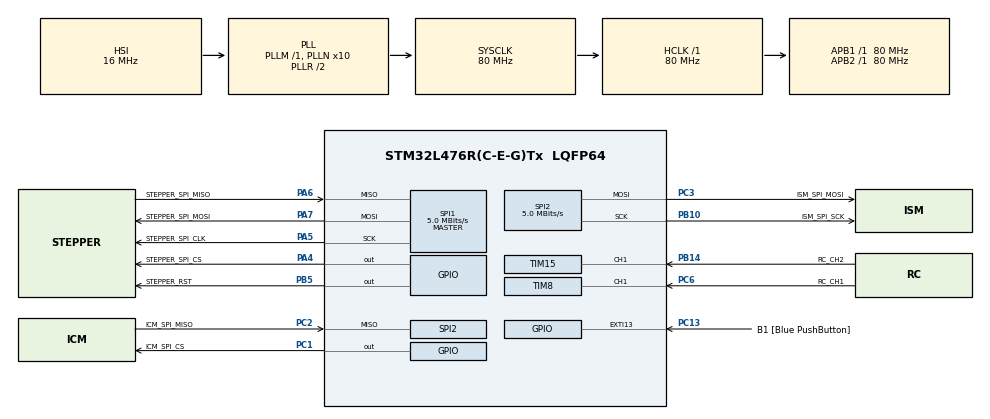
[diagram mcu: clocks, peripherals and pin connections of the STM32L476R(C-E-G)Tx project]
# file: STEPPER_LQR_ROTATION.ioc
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Dma.Request0=SPI2_RX
Dma.Request1=SPI2_TX
Dma.Request2=SPI1_RX
Dma.Request3=SPI1_TX
Dma.SPI1_RX.2.Direction=DMA_PERIPH_TO_MEMORY
Dma.SPI1_RX.2.Instance=DMA1_Channel2
Dma.SPI1_RX.2.MemDataAlignment=DMA_MDATAALIGN_BYTE
Dma.SPI1_RX.2.MemInc=DMA_MINC_ENABLE
Dma.SPI1_RX.2.Mode=DMA_NORMAL
Dma.SPI1_RX.2.PeriphDataAlignment=DMA_PDATAALIGN_BYTE
Dma.SPI1_RX.2.PeriphInc=DMA_PINC_DISABLE
Dma.SPI1_RX.2.Priority=DMA_PRIORITY_LOW
Dma.SPI1_TX.3.Direction=DMA_MEMORY_TO_PERIPH
Dma.SPI1_TX.3.Instance=DMA1_Channel3
Dma.SPI1_TX.3.MemDataAlignment=DMA_MDATAALIGN_BYTE
Dma.SPI1_TX.3.MemInc=DMA_MINC_ENABLE
Dma.SPI1_TX.3.Mode=DMA_NORMAL
Dma.SPI1_TX.3.PeriphDataAlignment=DMA_PDATAALIGN_BYTE
Dma.SPI1_TX.3.PeriphInc=DMA_PINC_DISABLE
Dma.SPI1_TX.3.Priority=DMA_PRIORITY_LOW
Dma.SPI2_RX.0.Direction=DMA_PERIPH_TO_MEMORY
Dma.SPI2_RX.0.Instance=DMA1_Channel4
Dma.SPI2_RX.0.MemDataAlignment=DMA_MDATAALIGN_BYTE
Dma.SPI2_RX.0.MemInc=DMA_MINC_ENABLE
Dma.SPI2_RX.0.Mode=DMA_NORMAL
Dma.SPI2_RX.0.PeriphDataAlignment=DMA_PDATAALIGN_BYTE
Dma.SPI2_RX.0.PeriphInc=DMA_PINC_DISABLE
Dma.SPI2_RX.0.Priority=DMA_PRIORITY_LOW
Dma.SPI2_TX.1.Direction=DMA_MEMORY_TO_PERIPH
Dma.SPI2_TX.1.Instance=DMA1_Channel5
Dma.SPI2_TX.1.MemDataAlignment=DMA_MDATAALIGN_BYTE
Dma.SPI2_TX.1.MemInc=DMA_MINC_ENABLE
Dma.SPI2_TX.1.Mode=DMA_NORMAL
Dma.SPI2_TX.1.PeriphDataAlignment=DMA_PDATAALIGN_BYTE
Dma.SPI2_TX.1.PeriphInc=DMA_PINC_DISABLE
Dma.SPI2_TX.1.Priority=DMA_PRIORITY_LOW
Mcu.Family=STM32L4
Mcu.Name=STM32L476R(C-E-G)Tx
Mcu.Package=LQFP64
NVIC.DMA1_Channel2_IRQn=true\:0\:0\:false\:false\:true\:false\:true\:true
NVIC.DMA1_Channel3_IRQn=true\:0\:0\:false\:false\:true\:false\:true\:true
NVIC.DMA1_Channel4_IRQn=true\:0\:0\:false\:false\:true\:false\:true\:true
NVIC.DMA1_Channel5_IRQn=true\:0\:0\:false\:false\:true\:false\:true\:true
NVIC.PriorityGroup=NVIC_PRIORITYGROUP_4
NVIC.SPI1_IRQn=true\:0\:0\:false\:false\:true\:true\:true\:true
NVIC.SPI2_IRQn=true\:0\:0\:false\:false\:true\:true\:true\:true
NVIC.TIM1_BRK_TIM15_IRQn=true\:0\:0\:false\:false\:true\:true\:true\:true
NVIC.TIM4_IRQn=true\:0\:0\:false\:false\:true\:true\:true\:true
NVIC.TIM8_BRK_IRQn=true\:0\:0\:false\:false\:true\:true\:true\:true
NVIC.TIM8_CC_IRQn=true\:0\:0\:false\:false\:true\:true\:true\:true
NVIC.TIM8_TRG_COM_IRQn=true\:0\:0\:false\:false\:true\:true\:true\:true
NVIC.TIM8_UP_IRQn=true\:0\:0\:false\:false\:true\:true\:true\:true
PA13\ (JTMS-SWDIO).GPIO_Label=TMS
PA13\ (JTMS-SWDIO).Signal=SYS_JTMS-SWDIO
PA14\ (JTCK-SWCLK).GPIO_Label=TCK
PA14\ (JTCK-SWCLK).Signal=SYS_JTCK-SWCLK
PA2.GPIO_Label=USART_TX
PA2.GPIO_Mode=GPIO_MODE_AF_PP
PA2.GPIO_PuPd=GPIO_NOPULL
PA2.GPIO_Speed=GPIO_SPEED_FREQ_VERY_HIGH
PA2.Signal=USART2_TX
PA3.GPIO_Label=USART_RX
PA3.GPIO_Mode=GPIO_MODE_AF_PP
PA3.GPIO_PuPd=GPIO_NOPULL
PA3.GPIO_Speed=GPIO_SPEED_FREQ_VERY_HIGH
PA3.Signal=USART2_RX
PA4.GPIO_Label=STEPPER_SPI_CS
PA4.Signal=GPIO_Output
PA5.GPIO_Label=STEPPER_SPI_CLK
PA5.Mode=Full_Duplex_Master
PA5.Signal=SPI1_SCK
PA6.GPIO_Label=STEPPER_SPI_MISO
PA6.Mode=Full_Duplex_Master
PA6.Signal=SPI1_MISO
PA7.GPIO_Label=STEPPER_SPI_MOSI
PA7.Mode=Full_Duplex_Master
PA7.Signal=SPI1_MOSI
PB10.GPIO_Label=ISM_SPI_SCK
PB10.Mode=Full_Duplex_Master
PB10.Signal=SPI2_SCK
PB14.GPIO_Label=RC_CH2
PB14.Signal=S_TIM15_CH1
PB3\ (JTDO-TRACESWO).Signal=SYS_JTDO-SWO
PB5.GPIO_Label=STEPPER_RST
PB5.Signal=GPIO_Output
PC1.GPIO_Label=ICM_SPI_CS
PC1.GPIO_PuPd=GPIO_PULLUP
PC1.Signal=GPIO_Output
PC13.GPIO_Label=B1 [Blue PushButton]
PC13.GPIO_ModeDefaultEXTI=GPIO_MODE_IT_FALLING
PC13.GPIO_PuPd=GPIO_NOPULL
PC13.Signal=GPXTI13
PC14-OSC32_IN\ (PC14).Signal=RCC_OSC32_IN
PC15-OSC32_OUT\ (PC15).Signal=RCC_OSC32_OUT
PC2.GPIO_Label=ICM_SPI_MISO
PC2.Mode=Full_Duplex_Master
PC2.Signal=SPI2_MISO
PC3.GPIO_Label=ISM_SPI_MOSI
PC3.Mode=Full_Duplex_Master
PC3.Signal=SPI2_MOSI
PC6.GPIO_Label=RC_CH1
PC6.Signal=S_TIM8_CH1
PH0-OSC_IN\ (PH0).Signal=RCC_OSC_IN
PH1-OSC_OUT\ (PH1).Signal=RCC_OSC_OUT
ProjectManager.HeapSize=0x200
ProjectManager.StackSize=0x400
ProjectManager.TargetToolchain=STM32CubeIDE
RCC.ADCFreq_Value=64000000
RCC.AHBFreq_Value=80000000
RCC.APB1Freq_Value=80000000
RCC.APB1TimFreq_Value=80000000
RCC.APB2Freq_Value=80000000
RCC.APB2TimFreq_Value=80000000
RCC.CortexFreq_Value=80000000
RCC.HCLKFreq_Value=80000000
RCC.HSE_VALUE=8000000
RCC.HSI_VALUE=16000000
RCC.LSE_VALUE=32768
RCC.MSI_VALUE=4000000
RCC.PLLN=10
RCC.PLLSourceVirtual=RCC_PLLSOURCE_HSI
RCC.PREFETCH_ENABLE=1
RCC.SYSCLKFreq_VALUE=80000000
RCC.SYSCLKSource=RCC_SYSCLKSOURCE_PLLCLK
RCC.USBFreq_Value=64000000
RCC.VCOOutputFreq_Value=160000000
SH.S_TIM15_CH1.0=TIM15_CH1,PWM_Input_1
SH.S_TIM8_CH1.0=TIM8_CH1,PWM_Input_1
SPI1.BaudRatePrescaler=SPI_BAUDRATEPRESCALER_16
SPI1.CLKPhase=SPI_PHASE_2EDGE
SPI1.CLKPolarity=SPI_POLARITY_HIGH
SPI1.CalculateBaudRate=5.0 MBits/s
SPI1.DataSize=SPI_DATASIZE_8BIT
SPI1.Direction=SPI_DIRECTION_2LINES
SPI1.Mode=SPI_MODE_MASTER
SPI1.VirtualType=VM_MASTER
SPI2.BaudRatePrescaler=SPI_BAUDRATEPRESCALER_16
SPI2.CLKPhase=SPI_PHASE_2EDGE
SPI2.CLKPolarity=SPI_POLARITY_HIGH
SPI2.CalculateBaudRate=5.0 MBits/s
SPI2.DataSize=SPI_DATASIZE_8BIT
SPI2.Direction=SPI_DIRECTION_2LINES
SPI2.Mode=SPI_MODE_MASTER
SPI2.VirtualType=VM_MASTER
STMicroelectronics.X-CUBE-ALGOBUILD.1.4.0.LibraryCcDSPOoLibraryJjDSPOoLibrary=true
TIM15.Prescaler=9
TIM4.Period=1999
TIM4.Prescaler=79
TIM8.Prescaler=9
VP_STMicroelectronics.X-CUBE-ALGOBUILD_VS_DSPOoLibraryJjLibrary_1.4.0_1.4.0.Mode=DSPOoLibraryJjLibrary
VP_TIM15_VS_ClockSourceINT.Mode=Internal
VP_TIM4_VS_ClockSourceINT.Mode=Internal
VP_TIM8_VS_ClockSourceINT.Mode=Internal
board=NUCLEO-L476RG

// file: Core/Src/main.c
/* USER CODE BEGIN Header */
/**
  ******************************************************************************
  * @file           : main.c
  * @brief          : Main program body
  ******************************************************************************
  * @attention
  *
  * Copyright (c) 2024 STMicroelectronics.
  * All rights reserved.
  *
  * This software is licensed under terms that can be found in the LICENSE file
  * in the root directory of this software component.
  * If no LICENSE file comes with this software, it is provided AS-IS.
  *
  ******************************************************************************
  */
/* USER CODE END Header */
#include "main.h"

/* USER CODE BEGIN Includes */
#include "stdio.h"
#include "pid_control.h"
#include "icm_20948.h"
#include "imu_data.h"
#include "euler_angles.h"
#include "lqr.h"
#include "l6470.h"
#include "rc_joystick.h"
/* USER CODE END Includes */

/* USER CODE BEGIN PD */

#define MASS_ROBOT      1.0
#define DIAMETER   		0.05

/* USER CODE END PD */

SPI_HandleTypeDef hspi1;
SPI_HandleTypeDef hspi2;
DMA_HandleTypeDef hdma_spi1_rx;
DMA_HandleTypeDef hdma_spi1_tx;
DMA_HandleTypeDef hdma_spi2_rx;
DMA_HandleTypeDef hdma_spi2_tx;

TIM_HandleTypeDef htim4;
TIM_HandleTypeDef htim8;
TIM_HandleTypeDef htim15;

/* USER CODE BEGIN PV */
/* USER CODE BEGIN PV */
static uint8_t start_balancing = 0;
static uint16_t count_start_banaling = 0;
MotorSetTypedef motor_sets = {
		.gpio_cs_number = STEPPER_SPI_CS_Pin,
		.gpio_cs_port = STEPPER_SPI_CS_GPIO_Port,
		.gpio_rst_number = STEPPER_RST_Pin,
		.gpio_rst_port = STEPPER_RST_GPIO_Port,
		.hspi_l6470 = &hspi1,
		.sampling_rate = SAMPLE_RATE
};

float temp_velocity;
static float force;
uint8_t timer_flag;
icm_20948_data icm_data;
imu_norm imu_norm_data;
euler_angles euler_angles_robot, euler_angles_old;
StateTypeDef robot_state;
uint16_t count_off_ground;
static float32_t ref1_position;
/* USER CODE END PV */

void SystemClock_Config(void);
static void MX_GPIO_Init(void);
static void MX_DMA_Init(void);
static void MX_TIM4_Init(void);
static void MX_TIM8_Init(void);
static void MX_TIM15_Init(void);
static void MX_SPI2_Init(void);
static void MX_SPI1_Init(void);

/* USER CODE BEGIN 0 */
float vel_temp[2] = {0, 0}; // 1 rot.sec;
float vel_final[2] = {0, 0}; // 1 rot.sec;

void HAL_SPI_TxRxCpltCallback(SPI_HandleTypeDef * hspi)
{
	if(hspi == motor_sets.hspi_l6470)
	{
		l6470_transmit_spi_dma(&motor_sets);
	}
}

/* USER CODE END 0 */

int main(void)
{

  /* USER CODE BEGIN 1 */
  float ref1, ref2;
  /* USER CODE END 1 */

  /* MCU Configuration--------------------------------------------------------*/

  /* Reset of all peripherals, Initializes the Flashdnterface and the Systick. */
  HAL_Init();

  /* Configure the system clock */
  SystemClock_Config();

  /* Initialize all configured peripherals */
  MX_GPIO_Init();
  MX_DMA_Init();
  MX_TIM4_Init();
  MX_TIM8_Init();
  MX_TIM15_Init();
  MX_SPI2_Init();
  MX_SPI1_Init();
  /* USER CODE BEGIN 2 */
  //reset_encoder(&encoder_inverted, &htim2);
  HAL_Delay(1000);
  l6470_init(&motor_sets);
  l6470_enable(&motor_sets);
  icm_20948_init();
  icm_20948_read_data(&icm_data);
  sensor2imu(icm_data, &imu_norm_data);
  complementary_filter_euler(imu_norm_data,  &euler_angles_robot);
  euler_angles_old = euler_angles_robot;
  /* USER CODE END 2 */

  /* Infinite loop */
  /* USER CODE BEGIN WHILE */
  while (1)
  {
	  if(timer_flag)
	  {
		timer_flag = 0;
		ref1 = get_reference(RC_CHANNEL1);
		ref2 = get_reference(RC_CHANNEL2);
		ref1_position += ref1 / SAMPLE_RATE;
		icm_20948_read_data(&icm_data);
		sensor2imu(icm_data, &imu_norm_data);
		complementary_filter_euler(imu_norm_data,  &euler_angles_robot);
		if(start_balancing)
		{
			robot_state.angle = euler_angles_robot.pitch;
			robot_state.angle_vel = robot_state.angle_vel * 0.1 + 0.9 * (euler_angles_robot.pitch -
						  euler_angles_old.pitch) * SAMPLE_RATE;
			robot_state.position = (motor_sets.motors[0].speed_pos.rad_pos +
					motor_sets.motors[1].speed_pos.rad_pos) / 2 - ref1_position;
			robot_state.velocity = (motor_sets.motors[0].speed_pos.rad_speed +
					motor_sets.motors[1].speed_pos.rad_speed) / 2 - ref1;
			apply_lqr(robot_state, &force);
			vel_temp[0] += (force) / (2.0 * MASS_ROBOT * DIAMETER * SAMPLE_RATE);
			vel_temp[1] += (force) / (2.0 * MASS_ROBOT * DIAMETER * SAMPLE_RATE);
		}
		else
		{
			 vel_temp[0] = 0;
			 vel_temp[1] = 0;
			 ref2 = 0;
			 ref1 = 0;
			 force = 0;
			 ref1_position = 0;
			 l6470_reset_speed_pos(&motor_sets);
			 reset_state_lqr(&robot_state);
		}
		if (euler_angles_robot.pitch < 1.3 && euler_angles_robot.pitch > -1.3 &&
				euler_angles_robot.roll < 0.9 && euler_angles_robot.roll > -0.9)
		{
			// motor is in upright position
			if(euler_angles_robot.pitch < 0.3 && euler_angles_robot.pitch > -0.3 &&
				euler_angles_robot.roll < 0.2 && euler_angles_robot.roll > -0.2)
			{
				// wait one sec, then start balancing
				if(!start_balancing)
				{
					count_start_banaling++;
				}
				if(count_start_banaling > SAMPLE_RATE)
				{
					start_balancing = 1;
					count_start_banaling = 0;
				}
			}
		}
		else
		{
		 start_balancing = 0;
		}
		if(motor_sets.motors[1].speed_pos.rad_speed == MAX_SPEED_RAD &&
				motor_sets.motors[0].speed_pos.rad_speed == MAX_SPEED_RAD)
		{
			count_off_ground++;
		}

		vel_final[0] = vel_temp[0] + ref2 / 2;
		vel_final[1] = vel_temp[0] - ref2 / 2;

		l6470_set_vel(&motor_sets, vel_final);
		euler_angles_old = euler_angles_robot;
	  }
    /* USER CODE END WHILE */

  }
}

void SystemClock_Config(void)
{
  RCC_OscInitTypeDef RCC_OscInitStruct = {0};
  RCC_ClkInitTypeDef RCC_ClkInitStruct = {0};

  /** Configure the main internal regulator output voltage
  */
  if (HAL_PWREx_ControlVoltageScaling(PWR_REGULATOR_VOLTAGE_SCALE1) != HAL_OK)
  {
    Error_Handler();
  }

  /** Initializes the RCC Oscillators according to the specified parameters
  * in the RCC_OscInitTypeDef structure.
  */
  RCC_OscInitStruct.OscillatorType = RCC_OSCILLATORTYPE_HSI;
  RCC_OscInitStruct.HSIState = RCC_HSI_ON;
  RCC_OscInitStruct.HSICalibrationValue = RCC_HSICALIBRATION_DEFAULT;
  RCC_OscInitStruct.PLL.PLLState = RCC_PLL_ON;
  RCC_OscInitStruct.PLL.PLLSource = RCC_PLLSOURCE_HSI;
  RCC_OscInitStruct.PLL.PLLM = 1;
  RCC_OscInitStruct.PLL.PLLN = 10;
  RCC_OscInitStruct.PLL.PLLP = RCC_PLLP_DIV7;
  RCC_OscInitStruct.PLL.PLLQ = RCC_PLLQ_DIV2;
  RCC_OscInitStruct.PLL.PLLR = RCC_PLLR_DIV2;
  if (HAL_RCC_OscConfig(&RCC_OscInitStruct) != HAL_OK)
  {
    Error_Handler();
  }

  /** Initializes the CPU, AHB and APB buses clocks
  */
  RCC_ClkInitStruct.ClockType = RCC_CLOCKTYPE_HCLK|RCC_CLOCKTYPE_SYSCLK
                              |RCC_CLOCKTYPE_PCLK1|RCC_CLOCKTYPE_PCLK2;
  RCC_ClkInitStruct.SYSCLKSource = RCC_SYSCLKSOURCE_PLLCLK;
  RCC_ClkInitStruct.AHBCLKDivider = RCC_SYSCLK_DIV1;
  RCC_ClkInitStruct.APB1CLKDivider = RCC_HCLK_DIV1;
  RCC_ClkInitStruct.APB2CLKDivider = RCC_HCLK_DIV1;

  if (HAL_RCC_ClockConfig(&RCC_ClkInitStruct, FLASH_LATENCY_4) != HAL_OK)
  {
    Error_Handler();
  }
}

static void MX_SPI1_Init(void)
{

  /* SPI1 parameter configuration*/
  hspi1.Instance = SPI1;
  hspi1.Init.Mode = SPI_MODE_MASTER;
  hspi1.Init.Direction = SPI_DIRECTION_2LINES;
  hspi1.Init.DataSize = SPI_DATASIZE_8BIT;
  hspi1.Init.CLKPolarity = SPI_POLARITY_HIGH;
  hspi1.Init.CLKPhase = SPI_PHASE_2EDGE;
  hspi1.Init.NSS = SPI_NSS_SOFT;
  hspi1.Init.BaudRatePrescaler = SPI_BAUDRATEPRESCALER_16;
  hspi1.Init.FirstBit = SPI_FIRSTBIT_MSB;
  hspi1.Init.TIMode = SPI_TIMODE_DISABLE;
  hspi1.Init.CRCCalculation = SPI_CRCCALCULATION_DISABLE;
  hspi1.Init.CRCPolynomial = 7;
  hspi1.Init.CRCLength = SPI_CRC_LENGTH_DATASIZE;
  hspi1.Init.NSSPMode = SPI_NSS_PULSE_DISABLE;
  if (HAL_SPI_Init(&hspi1) != HAL_OK)
  {
    Error_Handler();
  }

}

static void MX_SPI2_Init(void)
{

  /* SPI2 parameter configuration*/
  hspi2.Instance = SPI2;
  hspi2.Init.Mode = SPI_MODE_MASTER;
  hspi2.Init.Direction = SPI_DIRECTION_2LINES;
  hspi2.Init.DataSize = SPI_DATASIZE_8BIT;
  hspi2.Init.CLKPolarity = SPI_POLARITY_HIGH;
  hspi2.Init.CLKPhase = SPI_PHASE_2EDGE;
  hspi2.Init.NSS = SPI_NSS_SOFT;
  hspi2.Init.BaudRatePrescaler = SPI_BAUDRATEPRESCALER_64;
  hspi2.Init.FirstBit = SPI_FIRSTBIT_MSB;
  hspi2.Init.TIMode = SPI_TIMODE_DISABLE;
  hspi2.Init.CRCCalculation = SPI_CRCCALCULATION_DISABLE;
  hspi2.Init.CRCPolynomial = 7;
  hspi2.Init.CRCLength = SPI_CRC_LENGTH_DATASIZE;
  hspi2.Init.NSSPMode = SPI_NSS_PULSE_DISABLE;
  if (HAL_SPI_Init(&hspi2) != HAL_OK)
  {
    Error_Handler();
  }

}

static void MX_TIM4_Init(void)
{

  TIM_ClockConfigTypeDef sClockSourceConfig = {0};
  TIM_MasterConfigTypeDef sMasterConfig = {0};

  htim4.Instance = TIM4;
  htim4.Init.Prescaler = 79;
  htim4.Init.CounterMode = TIM_COUNTERMODE_UP;
  htim4.Init.Period = 1999;
  htim4.Init.ClockDivision = TIM_CLOCKDIVISION_DIV1;
  htim4.Init.AutoReloadPreload = TIM_AUTORELOAD_PRELOAD_DISABLE;
  if (HAL_TIM_Base_Init(&htim4) != HAL_OK)
  {
    Error_Handler();
  }
  sClockSourceConfig.ClockSource = TIM_CLOCKSOURCE_INTERNAL;
  if (HAL_TIM_ConfigClockSource(&htim4, &sClockSourceConfig) != HAL_OK)
  {
    Error_Handler();
  }
  sMasterConfig.MasterOutputTrigger = TIM_TRGO_RESET;
  sMasterConfig.MasterSlaveMode = TIM_MASTERSLAVEMODE_DISABLE;
  if (HAL_TIMEx_MasterConfigSynchronization(&htim4, &sMasterConfig) != HAL_OK)
  {
    Error_Handler();
  }
  /* USER CODE BEGIN TIM4_Init 2 */
  htim4.Instance->PSC = SystemCoreClock / (1e6) - 1;
  htim4.Instance->ARR = 1e6 / (SAMPLE_RATE) - 1;

  HAL_TIM_Base_Start_IT(&htim4);

  /* USER CODE END TIM4_Init 2 */

}

static void MX_TIM8_Init(void)
{

  TIM_ClockConfigTypeDef sClockSourceConfig = {0};
  TIM_SlaveConfigTypeDef sSlaveConfig = {0};
  TIM_IC_InitTypeDef sConfigIC = {0};
  TIM_MasterConfigTypeDef sMasterConfig = {0};

  htim8.Instance = TIM8;
  htim8.Init.Prescaler = 9;
  htim8.Init.CounterMode = TIM_COUNTERMODE_UP;
  htim8.Init.Period = 65535;
  htim8.Init.ClockDivision = TIM_CLOCKDIVISION_DIV1;
  htim8.Init.RepetitionCounter = 0;
  htim8.Init.AutoReloadPreload = TIM_AUTORELOAD_PRELOAD_DISABLE;
  if (HAL_TIM_Base_Init(&htim8) != HAL_OK)
  {
    Error_Handler();
  }
  sClockSourceConfig.ClockSource = TIM_CLOCKSOURCE_INTERNAL;
  if (HAL_TIM_ConfigClockSource(&htim8, &sClockSourceConfig) != HAL_OK)
  {
    Error_Handler();
  }
  if (HAL_TIM_IC_Init(&htim8) != HAL_OK)
  {
    Error_Handler();
  }
  sSlaveConfig.SlaveMode = TIM_SLAVEMODE_RESET;
  sSlaveConfig.InputTrigger = TIM_TS_TI1FP1;
  sSlaveConfig.TriggerPolarity = TIM_INPUTCHANNELPOLARITY_RISING;
  sSlaveConfig.TriggerPrescaler = TIM_ICPSC_DIV1;
  sSlaveConfig.TriggerFilter = 0;
  if (HAL_TIM_SlaveConfigSynchro(&htim8, &sSlaveConfig) != HAL_OK)
  {
    Error_Handler();
  }
  sConfigIC.ICPolarity = TIM_INPUTCHANNELPOLARITY_RISING;
  sConfigIC.ICSelection = TIM_ICSELECTION_DIRECTTI;
  sConfigIC.ICPrescaler = TIM_ICPSC_DIV1;
  sConfigIC.ICFilter = 0;
  if (HAL_TIM_IC_ConfigChannel(&htim8, &sConfigIC, TIM_CHANNEL_1) != HAL_OK)
  {
    Error_Handler();
  }
  sConfigIC.ICPolarity = TIM_INPUTCHANNELPOLARITY_FALLING;
  sConfigIC.ICSelection = TIM_ICSELECTION_INDIRECTTI;
  if (HAL_TIM_IC_ConfigChannel(&htim8, &sConfigIC, TIM_CHANNEL_2) != HAL_OK)
  {
    Error_Handler();
  }
  sMasterConfig.MasterOutputTrigger = TIM_TRGO_RESET;
  sMasterConfig.MasterOutputTrigger2 = TIM_TRGO2_RESET;
  sMasterConfig.MasterSlaveMode = TIM_MASTERSLAVEMODE_DISABLE;
  if (HAL_TIMEx_MasterConfigSynchronization(&htim8, &sMasterConfig) != HAL_OK)
  {
    Error_Handler();
  }
  /* USER CODE BEGIN TIM8_Init 2 */
  HAL_TIM_IC_Start_IT(&htim8, TIM_CHANNEL_1);
  HAL_TIM_IC_Start_IT(&htim8, TIM_CHANNEL_2);
  /* USER CODE END TIM8_Init 2 */

}

static void MX_TIM15_Init(void)
{

  TIM_ClockConfigTypeDef sClockSourceConfig = {0};
  TIM_SlaveConfigTypeDef sSlaveConfig = {0};
  TIM_IC_InitTypeDef sConfigIC = {0};
  TIM_MasterConfigTypeDef sMasterConfig = {0};

  htim15.Instance = TIM15;
  htim15.Init.Prescaler = 9;
  htim15.Init.CounterMode = TIM_COUNTERMODE_UP;
  htim15.Init.Period = 65535;
  htim15.Init.ClockDivision = TIM_CLOCKDIVISION_DIV1;
  htim15.Init.RepetitionCounter = 0;
  htim15.Init.AutoReloadPreload = TIM_AUTORELOAD_PRELOAD_DISABLE;
  if (HAL_TIM_Base_Init(&htim15) != HAL_OK)
  {
    Error_Handler();
  }
  sClockSourceConfig.ClockSource = TIM_CLOCKSOURCE_INTERNAL;
  if (HAL_TIM_ConfigClockSource(&htim15, &sClockSourceConfig) != HAL_OK)
  {
    Error_Handler();
  }
  if (HAL_TIM_IC_Init(&htim15) != HAL_OK)
  {
    Error_Handler();
  }
  sSlaveConfig.SlaveMode = TIM_SLAVEMODE_RESET;
  sSlaveConfig.InputTrigger = TIM_TS_TI1FP1;
  sSlaveConfig.TriggerPolarity = TIM_INPUTCHANNELPOLARITY_RISING;
  sSlaveConfig.TriggerPrescaler = TIM_ICPSC_DIV1;
  sSlaveConfig.TriggerFilter = 0;
  if (HAL_TIM_SlaveConfigSynchro(&htim15, &sSlaveConfig) != HAL_OK)
  {
    Error_Handler();
  }
  sConfigIC.ICPolarity = TIM_INPUTCHANNELPOLARITY_RISING;
  sConfigIC.ICSelection = TIM_ICSELECTION_DIRECTTI;
  sConfigIC.ICPrescaler = TIM_ICPSC_DIV1;
  sConfigIC.ICFilter = 0;
  if (HAL_TIM_IC_ConfigChannel(&htim15, &sConfigIC, TIM_CHANNEL_1) != HAL_OK)
  {
    Error_Handler();
  }
  sConfigIC.ICPolarity = TIM_INPUTCHANNELPOLARITY_FALLING;
  sConfigIC.ICSelection = TIM_ICSELECTION_INDIRECTTI;
  if (HAL_TIM_IC_ConfigChannel(&htim15, &sConfigIC, TIM_CHANNEL_2) != HAL_OK)
  {
    Error_Handler();
  }
  sMasterConfig.MasterOutputTrigger = TIM_TRGO_RESET;
  sMasterConfig.MasterSlaveMode = TIM_MASTERSLAVEMODE_DISABLE;
  if (HAL_TIMEx_MasterConfigSynchronization(&htim15, &sMasterConfig) != HAL_OK)
  {
    Error_Handler();
  }
  /* USER CODE BEGIN TIM15_Init 2 */
  HAL_TIM_IC_Start_IT(&htim15, TIM_CHANNEL_1);
  HAL_TIM_IC_Start_IT(&htim15, TIM_CHANNEL_2);
  /* USER CODE END TIM15_Init 2 */

}

static void MX_DMA_Init(void)
{

  /* DMA controller clock enable */
  __HAL_RCC_DMA1_CLK_ENABLE();

  /* DMA interrupt init */
  /* DMA1_Channel2_IRQn interrupt configuration */
  HAL_NVIC_SetPriority(DMA1_Channel2_IRQn, 0, 0);
  HAL_NVIC_EnableIRQ(DMA1_Channel2_IRQn);
  /* DMA1_Channel3_IRQn interrupt configuration */
  HAL_NVIC_SetPriority(DMA1_Channel3_IRQn, 0, 0);
  HAL_NVIC_EnableIRQ(DMA1_Channel3_IRQn);
  /* DMA1_Channel4_IRQn interrupt configuration */
  HAL_NVIC_SetPriority(DMA1_Channel4_IRQn, 0, 0);
  HAL_NVIC_EnableIRQ(DMA1_Channel4_IRQn);
  /* DMA1_Channel5_IRQn interrupt configuration */
  HAL_NVIC_SetPriority(DMA1_Channel5_IRQn, 0, 0);
  HAL_NVIC_EnableIRQ(DMA1_Channel5_IRQn);

}

static void MX_GPIO_Init(void)
{
  GPIO_InitTypeDef GPIO_InitStruct = {0};

  /* GPIO Ports Clock Enable */
  __HAL_RCC_GPIOC_CLK_ENABLE();
  __HAL_RCC_GPIOH_CLK_ENABLE();
  __HAL_RCC_GPIOA_CLK_ENABLE();
  __HAL_RCC_GPIOB_CLK_ENABLE();

  /*Configure GPIO pin Output Level */
  HAL_GPIO_WritePin(ICM_SPI_CS_GPIO_Port, ICM_SPI_CS_Pin, GPIO_PIN_RESET);

  /*Configure GPIO pin Output Level */
  HAL_GPIO_WritePin(STEPPER_SPI_CS_GPIO_Port, STEPPER_SPI_CS_Pin, GPIO_PIN_RESET);

  /*Configure GPIO pin Output Level */
  HAL_GPIO_WritePin(STEPPER_RST_GPIO_Port, STEPPER_RST_Pin, GPIO_PIN_RESET);

  /*Configure GPIO pin : B1_Pin */
  GPIO_InitStruct.Pin = B1_Pin;
  GPIO_InitStruct.Mode = GPIO_MODE_IT_FALLING;
  GPIO_InitStruct.Pull = GPIO_NOPULL;
  HAL_GPIO_Init(B1_GPIO_Port, &GPIO_InitStruct);

  /*Configure GPIO pin : ICM_SPI_CS_Pin */
  GPIO_InitStruct.Pin = ICM_SPI_CS_Pin;
  GPIO_InitStruct.Mode = GPIO_MODE_OUTPUT_PP;
  GPIO_InitStruct.Pull = GPIO_PULLUP;
  GPIO_InitStruct.Speed = GPIO_SPEED_FREQ_LOW;
  HAL_GPIO_Init(ICM_SPI_CS_GPIO_Port, &GPIO_InitStruct);

  /*Configure GPIO pins : USART_TX_Pin USART_RX_Pin */
  GPIO_InitStruct.Pin = USART_TX_Pin|USART_RX_Pin;
  GPIO_InitStruct.Mode = GPIO_MODE_AF_PP;
  GPIO_InitStruct.Pull = GPIO_NOPULL;
  GPIO_InitStruct.Speed = GPIO_SPEED_FREQ_VERY_HIGH;
  GPIO_InitStruct.Alternate = GPIO_AF7_USART2;
  HAL_GPIO_Init(GPIOA, &GPIO_InitStruct);

  /*Configure GPIO pin : STEPPER_SPI_CS_Pin */
  GPIO_InitStruct.Pin = STEPPER_SPI_CS_Pin;
  GPIO_InitStruct.Mode = GPIO_MODE_OUTPUT_PP;
  GPIO_InitStruct.Pull = GPIO_NOPULL;
  GPIO_InitStruct.Speed = GPIO_SPEED_FREQ_LOW;
  HAL_GPIO_Init(STEPPER_SPI_CS_GPIO_Port, &GPIO_InitStruct);

  /*Configure GPIO pin : STEPPER_RST_Pin */
  GPIO_InitStruct.Pin = STEPPER_RST_Pin;
  GPIO_InitStruct.Mode = GPIO_MODE_OUTPUT_PP;
  GPIO_InitStruct.Pull = GPIO_NOPULL;
  GPIO_InitStruct.Speed = GPIO_SPEED_FREQ_LOW;
  HAL_GPIO_Init(STEPPER_RST_GPIO_Port, &GPIO_InitStruct);

}

/* USER CODE BEGIN 4 */
int _write(int le, char *ptr, int len)
{
	int DataIdx;
	for(DataIdx = 0; DataIdx < len; DataIdx++)
	{
		ITM_SendChar(*ptr++);
	}
	return len;
}

void HAL_TIM_PeriodElapsedCallback(TIM_HandleTypeDef *htim)
{
	if(htim == &htim4)
	{
		timer_flag = 1;
	}
}
/* USER CODE END 4 */

void Error_Handler(void)
{
  __disable_irq();
  while (1)
  {
  }
}
